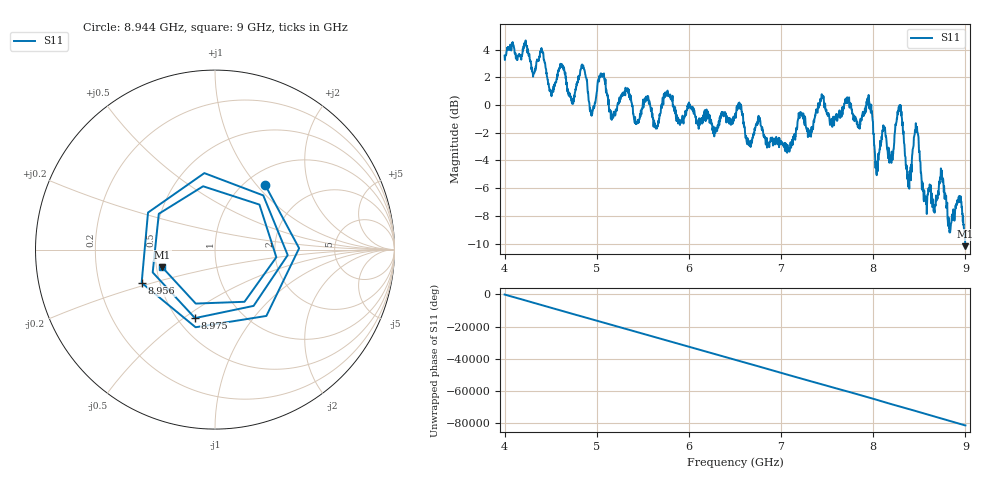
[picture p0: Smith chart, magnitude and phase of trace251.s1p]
! Created with skrf 1.8.0 (http://scikit-rf.org).
# Hz S RI R 50.0
!freq ReS11 ImS11
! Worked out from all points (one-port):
!   1601 points, 4 GHz to 9 GHz, reference 50 ohm
!   lowest |S11| = -10.2 dB at 9 GHz (marker M1), VSWR 1.90, Z = 26.8 - j5.84 ohm
!   |S11| at or under -10 dB: 8.997962 GHz to end of sweep
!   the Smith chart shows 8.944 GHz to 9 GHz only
!   S11 on the Smith chart (normalised r, x): 8.944 GHz: 1.23, +1.11; 8.956 GHz: 0.40, -0.18; 8.975 GHz: 0.61, -0.55; 9 GHz: 0.54, -0.12
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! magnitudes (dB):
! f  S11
! 4 GHz  3.6
! 4.403 GHz  3.9
! 4.509 GHz  0.6
! 4.625 GHz  2.9
! 4.728 GHz  0.2
! 4.847 GHz  2.8
! 4.947 GHz  -0.5
! 5.053 GHz  2.2
! 5.159 GHz  -0.8
! 5.25 GHz  0.2
! 5.875 GHz  -1.1
! 6.5 GHz  -0.7
! 7.125 GHz  -2.9
! 7.438 GHz  0.6
! 7.75 GHz  0.0
! 7.959 GHz  -0.3
! 8.041 GHz  -4.5
! 8.116 GHz  -1.5
! 8.2 GHz  -3.4
! 8.288 GHz  0.0
! 8.375 GHz  -5.1
! 8.466 GHz  -1.9
! 8.559 GHz  -6.7
! 8.834 GHz  -9.2
! 8.944 GHz  -6.8
! 8.956 GHz  -7.0
! 8.975 GHz  -8.0
! 9 GHz  -10.2
